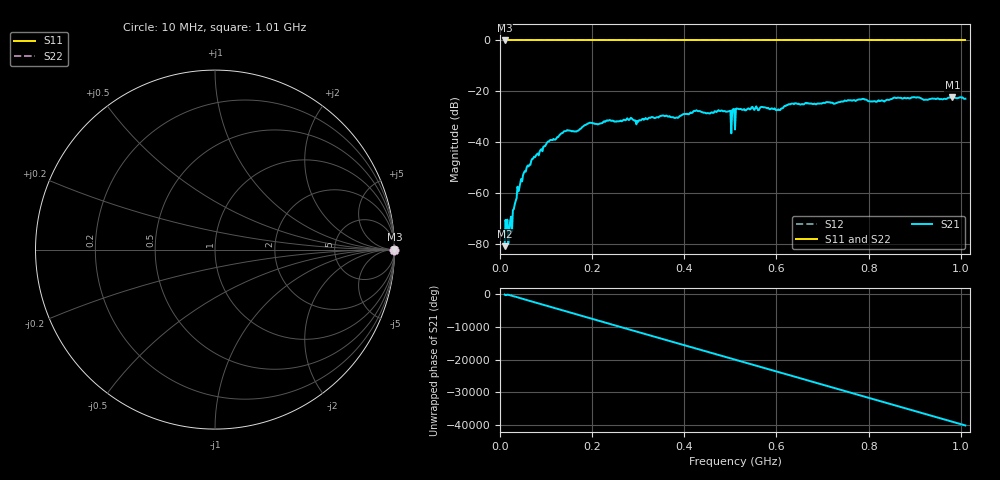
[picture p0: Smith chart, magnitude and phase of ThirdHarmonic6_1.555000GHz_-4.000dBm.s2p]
! 8/16/2025 6:27:41 PM
! C:\ANRITSUVNA\TEMP\TEMP.S2P
! CHANNEL.1
! TR.MEASUREMENT
! RAW.DATA
! RF.CORRECTION.OFF
! AVERAGING.OFF
! IF.BANDWIDTH: 5KHZ
! SWEEPTYPE:  FREQ.SWEEP(Linear)
! Reference Plane Port Info
! PORT:  PORT1  PORT2
! DISTANCE:  0  m  0  m
! TIME:  0  s  0  s
! PHASE.OFFSET:  0  deg.  0  deg.
! LOSS:  0  dB  0  dB
! REF.LOSS:  0  dB  0  dB
! REF.FREQ:  0  Hz  0  Hz
! Power Info
! POWER:  -20  dBm  -20  dBm
! EFF.POWER:  -20  dBm  -20  dBm
! SOURCE.ATTEN:  0  dB  0  dB
! TEST.ATTEN:  0  dB  0  dB
# GHZ S RI R 50.0
! FREQ.GHZ  S11RE  S11IM  S21RE  S21IM  S12RE  S12IM  S22RE  S22IM
!; PortSelection: Port_12
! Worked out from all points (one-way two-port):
!   501 points, 10 MHz to 1.01 GHz, reference 50 ohm
!   highest |S21| = -22.27 dB at 982 MHz (marker M1); lowest = -80.8 dB at 10 MHz (marker M2)
!   lowest |S11| = 0.0 dB at 10 MHz (marker M3)
!   |S11| at or under -10 dB: nowhere
!   |S22| runs from 0.0 to 0.0 dB; largest |S21 - S12| = 1.1
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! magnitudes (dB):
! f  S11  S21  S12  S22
! 10 MHz  0.0  -80.8  0.0  0.0
! 16 MHz  0.0  -70.4  0.0  0.0
! 22 MHz  0.0  -70.8  0.0  0.0
! 42 MHz  0.0  -57.9  0.0  0.0
! 56 MHz  0.0  -51.5  0.0  0.0
! 72 MHz  0.0  -46.4  0.0  0.0
! 106 MHz  0.0  -39.7  0.0  0.0
! 142 MHz  0.0  -35.6  0.0  0.0
! 178 MHz  0.0  -34.1  0.0  0.0
! 234 MHz  0.0  -31.5  0.0  0.0
! 344 MHz  0.0  -30.3  0.0  0.0
! 478 MHz  0.0  -27.8  0.0  0.0
! 496 MHz  0.0  -27.9  0.0  0.0
! 506 MHz  0.0  -27.0  0.0  0.0
! 510 MHz  0.0  -35.0  0.0  0.0
! 516 MHz  0.0  -26.8  0.0  0.0
! 604 MHz  0.0  -27.1  0.0  0.0
! 630 MHz  0.0  -25.1  0.0  0.0
! 678 MHz  0.0  -25.0  0.0  0.0
! 844 MHz  0.0  -23.3  0.0  0.0
! 982 MHz  0.0  -22.3  0.0  0.0
! 1.01 GHz  0.0  -22.9  0.0  0.0
